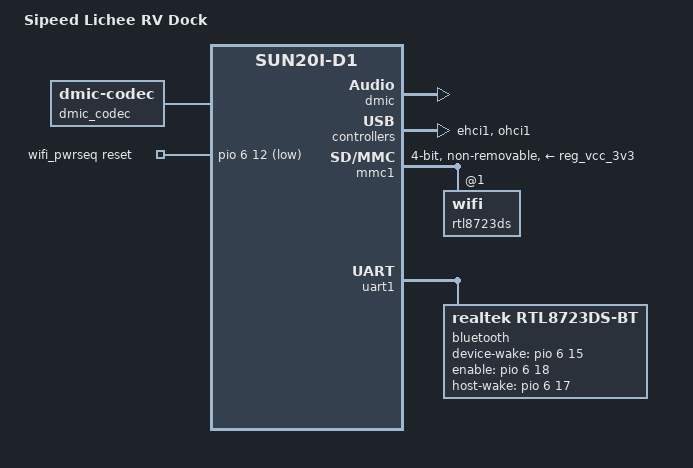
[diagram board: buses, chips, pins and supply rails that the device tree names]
// SPDX-License-Identifier: (GPL-2.0+ or MIT)
// Copyright (C) 2022 Jisheng Zhang <jszhang@kernel.org>
// Copyright (C) 2022 Samuel Holland <samuel@sholland.org>

#include <dt-bindings/input/input.h>

#include "sun20i-d1-lichee-rv.dts"

/ {
	model = "Sipeed Lichee RV Dock";
	compatible = "sipeed,lichee-rv-dock", "sipeed,lichee-rv",
		     "allwinner,sun20i-d1";

	aliases {
		ethernet1 = &rtl8723ds;
	};

	dmic_codec: dmic-codec {
		compatible = "dmic-codec";
		num-channels = <2>;
		#sound-dai-cells = <0>;
	};

	dmic-sound {
		compatible = "simple-audio-card";
		simple-audio-card,name = "DMIC";
		#address-cells = <1>;
		#size-cells = <0>;

		simple-audio-card,dai-link@0 {
			reg = <0>;
			format = "pdm";
			frame-master = <&link0_cpu>;
			bitclock-master = <&link0_cpu>;

			link0_cpu: cpu {
				sound-dai = <&dmic>;
			};

			link0_codec: codec {
				sound-dai = <&dmic_codec>;
			};
		};
	};

	wifi_pwrseq: wifi-pwrseq {
		compatible = "mmc-pwrseq-simple";
		reset-gpios = <&pio 6 12 GPIO_ACTIVE_LOW>; /* PG12 */
	};
};

&dmic {
	pinctrl-0 = <&dmic_pb11_d0_pin>, <&dmic_pe17_clk_pin>;
	pinctrl-names = "default";
	status = "okay";
};

&ehci1 {
	status = "okay";
};

&mmc1 {
	bus-width = <4>;
	mmc-pwrseq = <&wifi_pwrseq>;
	non-removable;
	vmmc-supply = <&reg_vcc_3v3>;
	vqmmc-supply = <&reg_vcc_3v3>;
	pinctrl-0 = <&mmc1_pins>;
	pinctrl-names = "default";
	status = "okay";

	rtl8723ds: wifi@1 {
		reg = <1>;
	};
};

&ohci1 {
	status = "okay";
};

&uart1 {
	uart-has-rtscts;
	pinctrl-0 = <&uart1_pg6_pins>, <&uart1_pg8_rts_cts_pins>;
	pinctrl-names = "default";
	status = "okay";

	bluetooth {
		compatible = "realtek,rtl8723ds-bt";
		device-wake-gpios = <&pio 6 15 GPIO_ACTIVE_HIGH>; /* PG16 */
		enable-gpios = <&pio 6 18 GPIO_ACTIVE_HIGH>; /* PG18 */
		host-wake-gpios = <&pio 6 17 GPIO_ACTIVE_HIGH>; /* PG17 */
	};
};

&usbphy {
	usb1_vbus-supply = <&reg_vcc>;
};
